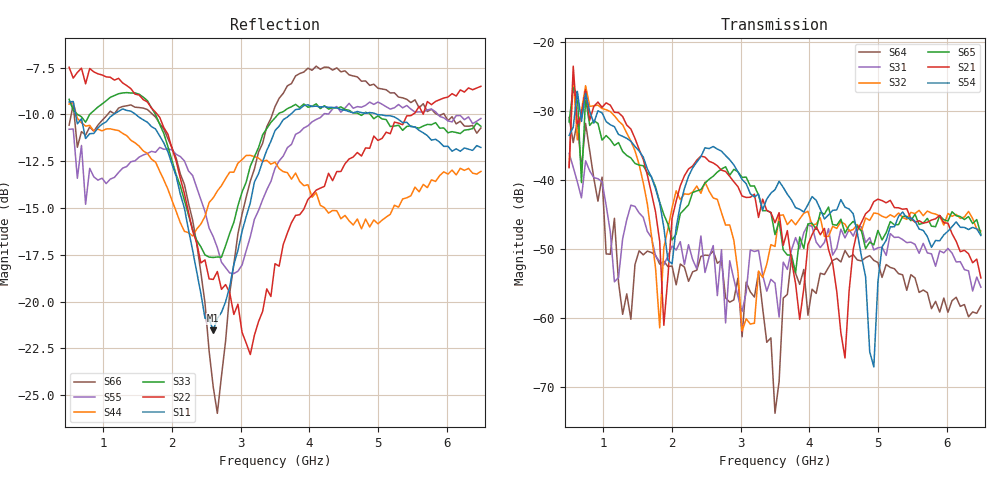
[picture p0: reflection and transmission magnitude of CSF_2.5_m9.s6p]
!Keysight Technologies,M9804A,MY58100912,A.14.10.03
!Date: Thursday, April 27, 2023 10:28:33
!Correction: S11(C  6-Port  )
!S12(C  6-Port  )
!S13(C  6-Port  )
!S14(C  6-Port  )
!S15(C  6-Port  )
!S16(C  6-Port  )
!S21(C  6-Port  )
!S22(C  6-Port  )
!S23(C  6-Port  )
!S24(C  6-Port  )
!S25(C  6-Port  )
!S26(C  6-Port  )
!S31(C  6-Port  )
!S32(C  6-Port  )
!S33(C  6-Port  )
!S34(C  6-Port  )
!S35(C  6-Port  )
!S36(C  6-Port  )
!S41(C  6-Port  )
!S42(C  6-Port  )
!S43(C  6-Port  )
!S44(C  6-Port  )
!S45(C  6-Port  )
!S46(C  6-Port  )
!S51(C  6-Port  )
!S52(C  6-Port  )
!S53(C  6-Port  )
!S54(C  6-Port  )
!S55(C  6-Port  )
!S56(C  6-Port  )
!S61(C  6-Port  )
!S62(C  6-Port  )
!S63(C  6-Port  )
!S64(C  6-Port  )
!S65(C  6-Port  )
!S66(C  6-Port  )
!S6P File: Measurement: :
# Hz S  RI  R 50
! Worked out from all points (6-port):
!   101 points, 500 MHz to 6.5 GHz, reference 50 ohm
!   strongest paths, dB at 500 MHz, 2 GHz, 3.5 GHz, 5 GHz, 6.5 GHz:
!     S54: -33.6, -52.2, -41.4, -54.7, -48.1
!     S21: -38.2, -45.6, -46.2, -42.8, -54.2
!     S65: -31.6, -48.7, -47.9, -47.3, -47.9
!     S32: -38.1, -44.0, -49.6, -44.9, -47.4
!     S31: -36.2, -49.6, -54.9, -49.8, -55.5
!     S64: -31.0, -52.5, -73.8, -52.0, -58.2
!   lowest |S11| = -21.5 dB at 2.6 GHz (marker M1), VSWR 1.18, Z = 42.6 + j2.31 ohm
!   |S11| at or under -10 dB: 594.5 MHz to 1.151 GHz (556 MHz wide, 63.7 % of centre); 1.468 GHz to 3.727 GHz (2.259 GHz wide, 87 % of centre); 4.986 GHz to end of sweep
